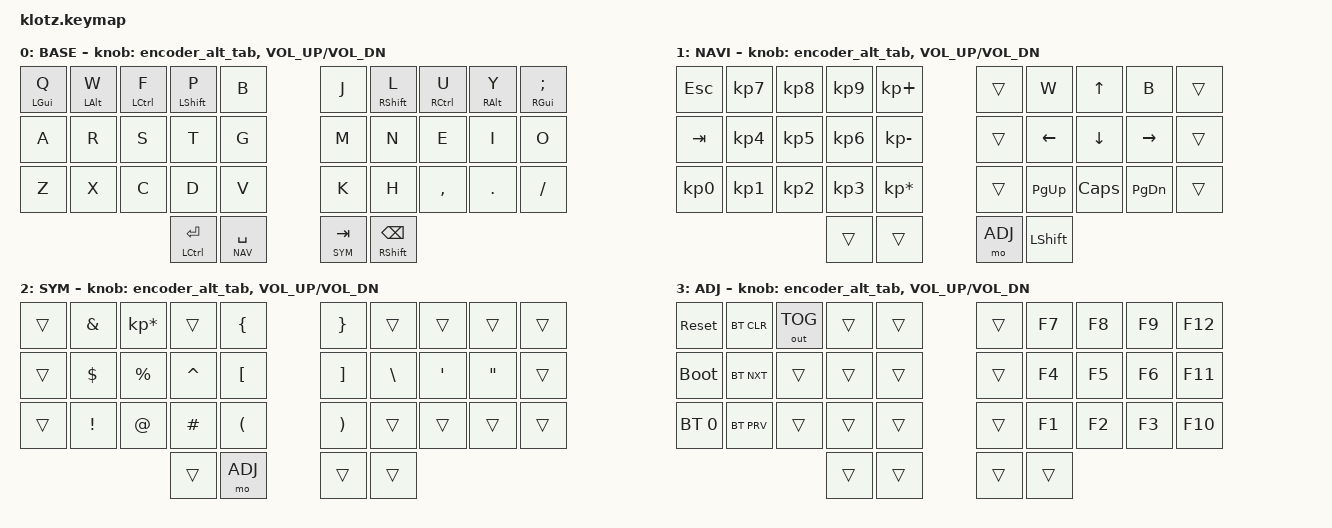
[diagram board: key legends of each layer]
#include <behaviors.dtsi>
#include <dt-bindings/zmk/keys.h>
#include <dt-bindings/zmk/bt.h>
#include <dt-bindings/zmk/outputs.h>
#include <dt-bindings/zmk/pointing.h>

#define ZMK_POINTING_DEFAULT_MOVE_VAL 1000  // default: 600
#define ZMK_POINTING_DEFAULT_SCRL_VAL 20    // default: 10

#define BASE 0
#define NAV  1
#define SYM  2
#define ADJ  3

/ {
    combos {
            compatible = "zmk,combos";
            combo_esc {
                timeout-ms = <50>;
                key-positions = <0 1>;
                bindings = <&kp ESC>;
            };
            
            compatible = "zmk,combos";
            combo_bspc {
                timeout-ms = <50>;
                key-positions = <3 4>;
                bindings = <&kp BSPC>;
            };
            
            compatible = "zmk,combos";
            combo_bspc {
                timeout-ms = <50>;
                key-positions = <1 2>;
                bindings = <&kp LGUI>;
            };
    };

    macros {
        tabcw: tabcw {
            compatible = "zmk,behavior-macro";
            #binding-cells = <0>;
            bindings
                = <&macro_tap &kp TAB>
                ;
        };
        tabccw: tabccw {
            compatible = "zmk,behavior-macro";
            #binding-cells = <0>;
            bindings
                = <&macro_press &kp LSHFT>
                , <&macro_tap &kp TAB>
                , <&macro_release &kp LSHFT>
                ;
        };
    };

    behaviors {
        encoder_alt_tab: encoder_alt_tab {
            compatible = "zmk,behavior-sensor-rotate";
            #sensor-binding-cells = <0>;
            bindings = <&tabcw>, <&tabccw>;
        };

        ct: custom_tap {
            compatible = "zmk,behavior-hold-tap";
            #binding-cells = <2>;
            flavor = "balanced";
            bindings = <&kp>, <&kp>;
            tapping-term-ms = <300>;
            quick-tap-ms = <175>;
            require-prior-idle-ms = <150>;
        };
    };


        keymap {
                compatible = "zmk,keymap";
// ▄▄▄▄▄▄▄▄▄▄▄▄▄▄▄▄▄▄▄▄▄▄▄▄▄▄▄▄▄▄▄▄▄▄▄▄▄▄▄▄▄▄▄▄▄▄▄▄▄▄▄▄▄▄▄▄▄▄▄▄▄▄▄▄▄▄▄▄▄▄▄▄▄▄▄▄▄▄▄▄▄▄▄▄▄▄▄▄▄▄▄▄▄▄▄▄▄▄▄▄▄▄▄▄▄▄▄▄▄▄▄▄▄▄▄▄▄▄▄▄▄▄▄▄▄


                base_layer {
// ┏━━━━━━━━━━━━━━━━━━━━━━━━━━━━━━━━━━━━━━━┓
display-name= "BASE"                              ;
// ┗━━━━━━━━━━━━━━━━━━━━━━━━━━━━━━━━━━━━━━━┛
// ┏━━━━━━━━━━━┳━━━━━━━━━━━┳━━━━━━━━━━━┳━━━━━━━━━━━┳━━━━━━━━━━━┓   ┏━━━━━━━━━━━┳━━━━━━━━━━━┳━━━━━━━━━━━┳━━━━━━━━━━━┳━━━━━━━━━━━┓
// ┃     Q     ┃     W     ┃     F     ┃     P     ┃     B     ┃   ┃     J     ┃     L     ┃     U     ┃     Y     ┃     ; :   ┃
// ┣━━━━━━━━━━━╋━━━━━━━━━━━╋━━━━━━━━━━━╋━━━━━━━━━━━╋━━━━━━━━━━━┫   ┣━━━━━━━━━━━╋━━━━━━━━━━━╋━━━━━━━━━━━╋━━━━━━━━━━━╋━━━━━━━━━━━┫
// ┃     A     ┃     R     ┃     S     ┃     T     ┃     G     ┃   ┃     M     ┃     N     ┃     E     ┃     I     ┃     O     ┃
// ┣━━━━━━━━━━━╋━━━━━━━━━━━╋━━━━━━━━━━━╋━━━━━━━━━━━╋━━━━━━━━━━━┫   ┣━━━━━━━━━━━╋━━━━━━━━━━━╋━━━━━━━━━━━╋━━━━━━━━━━━╋━━━━━━━━━━━┫
// ┃     Z     ┃     X     ┃     C     ┃     D     ┃     V     ┃   ┃     K     ┃     H     ┃     , <   ┃     . >   ┃     / ?   ┃
// ┗━━━━━━━━━━━┻━━━━━━━━━━━┻━━━━━━━━━━━╋━━━━━━━━━━━╋━━━━━━━━━━━┫   ┣━━━━━━━━━━━╋━━━━━━━━━━━╋━━━━━━━━━━━┻━━━━━━━━━━━┻━━━━━━━━━━━┛
//                                     ┃   ENTER   ┃    SPC    ┃   ┃    TAB    ┃   BSPC    ┃
//                                     ┗━━━━━━━━━━━┻━━━━━━━━━━━┛   ┗━━━━━━━━━━━┻━━━━━━━━━━━┛
 bindings = <
// ╷           ╷           ╷           ╷           ╷           ╷   ╷           ╷           ╷           ╷           ╷           ╷

    &ct LGUI Q  &ct LALT W  &ct LCTRL F &ct LSHFT P &kp B           &kp J       &ct RSHFT L &ct RCTRL U &ct RALT Y  &ct RGUI SEMI
    &kp A       &kp R       &kp S       &kp T       &kp G           &kp M       &kp N       &kp E       &kp I       &kp O
    &kp Z       &kp X       &kp C       &kp D       &kp V           &kp K       &kp H       &kp COMMA   &kp DOT     &kp FSLH
                                       &ct LCTRL RET &lt NAV SPACE  &lt SYM TAB &ct RSHFT BSPC    
                        >;
            sensor-bindings = <&encoder_alt_tab &inc_dec_kp C_VOL_UP C_VOL_DN>;
                };

// ▄▄▄▄▄▄▄▄▄▄▄▄▄▄▄▄▄▄▄▄▄▄▄▄▄▄▄▄▄▄▄▄▄▄▄▄▄▄▄▄▄▄▄▄▄▄▄▄▄▄▄▄▄▄▄▄▄▄▄▄▄▄▄▄▄▄▄▄▄▄▄▄▄▄▄▄▄▄▄▄▄▄▄▄▄▄▄▄▄▄▄▄▄▄▄▄▄▄▄▄▄▄▄▄▄▄▄▄▄▄▄▄▄▄▄▄▄▄▄▄▄▄▄▄▄


                nav_layer {
// ┏━━━━━━━━━━━━━━━━━━━━━━━━━━━━━━━━━━━━━━━┓
display-name= "NAVI"                              ;
// ┗━━━━━━━━━━━━━━━━━━━━━━━━━━━━━━━━━━━━━━━┛
// ┏━━━━━━━━━━━┳━━━━━━━━━━━┳━━━━━━━━━━━┳━━━━━━━━━━━┳━━━━━━━━━━━┓   ┏━━━━━━━━━━━┳━━━━━━━━━━━┳━━━━━━━━━━━┳━━━━━━━━━━━┳━━━━━━━━━━━┓
// ┃    ESC    ┃     7     ┃     8     ┃     9     ┃     + =   ┃   ┃           ┃    W      ┃     UP    ┃     B     ┃           ┃
// ┣━━━━━━━━━━━╋━━━━━━━━━━━╋━━━━━━━━━━━╋━━━━━━━━━━━╋━━━━━━━━━━━┫   ┣━━━━━━━━━━━╋━━━━━━━━━━━╋━━━━━━━━━━━╋━━━━━━━━━━━╋━━━━━━━━━━━┫
// ┃    TAB    ┃     4     ┃     5     ┃     6     ┃     - _   ┃   ┃           ┃   LEFT    ┃    DOWN   ┃   RIGHT   ┃           ┃
// ┣━━━━━━━━━━━╋━━━━━━━━━━━╋━━━━━━━━━━━╋━━━━━━━━━━━╋━━━━━━━━━━━┫   ┣━━━━━━━━━━━╋━━━━━━━━━━━╋━━━━━━━━━━━╋━━━━━━━━━━━╋━━━━━━━━━━━┫
// ┃     0     ┃     1     ┃     2     ┃     3     ┃     *     ┃   ┃           ┃  P UP     ┃   C LOCK  ┃  P DOWN   ┃           ┃
// ┗━━━━━━━━━━━┻━━━━━━━━━━━┻━━━━━━━━━━━╋━━━━━━━━━━━╋━━━━━━━━━━━┫   ┣━━━━━━━━━━━╋━━━━━━━━━━━╋━━━━━━━━━━━┻━━━━━━━━━━━┻━━━━━━━━━━━┛
//                                     ┃           ┃           ┃   ┃  ADJUST   ┃   SHFT    ┃  
//                                     ┗━━━━━━━━━━━┻━━━━━━━━━━━┛   ┗━━━━━━━━━━━┻━━━━━━━━━━━┛
 bindings = <
// ╷           ╷           ╷           ╷           ╷           ╷   ╷           ╷           ╷           ╷           ╷           ╷

    &kp ESC     &kp KP_N7   &kp KP_N8   &kp KP_N9   &kp KP_PLUS     &trans      &kp W       &kp UP      &kp B       &trans
    &kp TAB     &kp KP_N4   &kp KP_N5   &kp KP_N6   &kp KP_MINUS    &trans      &kp LEFT &kp DOWN &kp RIGHT   &trans
    &kp KP_N0   &kp KP_N1   &kp KP_N2   &kp KP_N3   &kp KP_MULTIPLY &trans      &kp PG_UP   &kp CAPS    &kp PG_DN   &trans
                                        &trans      &trans          &mo ADJ     &kp LSHFT     
                        >;
            sensor-bindings = <&encoder_alt_tab &inc_dec_kp C_VOL_UP C_VOL_DN>;
                };

// ▄▄▄▄▄▄▄▄▄▄▄▄▄▄▄▄▄▄▄▄▄▄▄▄▄▄▄▄▄▄▄▄▄▄▄▄▄▄▄▄▄▄▄▄▄▄▄▄▄▄▄▄▄▄▄▄▄▄▄▄▄▄▄▄▄▄▄▄▄▄▄▄▄▄▄▄▄▄▄▄▄▄▄▄▄▄▄▄▄▄▄▄▄▄▄▄▄▄▄▄▄▄▄▄▄▄▄▄▄▄▄▄▄▄▄▄▄▄▄▄▄▄▄▄▄


                sim_layer {
// ┏━━━━━━━━━━━━━━━━━━━━━━━━━━━━━━━━━━━━━━━┓
display-name= "SYM"                               ;
// ┗━━━━━━━━━━━━━━━━━━━━━━━━━━━━━━━━━━━━━━━┛
// ┏━━━━━━━━━━━┳━━━━━━━━━━━┳━━━━━━━━━━━┳━━━━━━━━━━━┳━━━━━━━━━━━┓   ┏━━━━━━━━━━━┳━━━━━━━━━━━┳━━━━━━━━━━━┳━━━━━━━━━━━┳━━━━━━━━━━━┓
// ┃           ┃     &     ┃     *     ┃           ┃     {     ┃   ┃     }     ┃           ┃           ┃           ┃           ┃
// ┣━━━━━━━━━━━╋━━━━━━━━━━━╋━━━━━━━━━━━╋━━━━━━━━━━━╋━━━━━━━━━━━┫   ┣━━━━━━━━━━━╋━━━━━━━━━━━╋━━━━━━━━━━━╋━━━━━━━━━━━╋━━━━━━━━━━━┫
// ┃           ┃     $     ┃     %     ┃     ^     ┃     [     ┃   ┃     ]     ┃    \ |    ┃     '     ┃    "      ┃           ┃
// ┣━━━━━━━━━━━╋━━━━━━━━━━━╋━━━━━━━━━━━╋━━━━━━━━━━━╋━━━━━━━━━━━┫   ┣━━━━━━━━━━━╋━━━━━━━━━━━╋━━━━━━━━━━━╋━━━━━━━━━━━╋━━━━━━━━━━━┫
// ┃           ┃     !     ┃     @     ┃     #     ┃     (     ┃   ┃     )     ┃           ┃           ┃           ┃           ┃
// ┗━━━━━━━━━━━┻━━━━━━━━━━━┻━━━━━━━━━━━╋━━━━━━━━━━━╋━━━━━━━━━━━┫   ┣━━━━━━━━━━━╋━━━━━━━━━━━╋━━━━━━━━━━━┻━━━━━━━━━━━┻━━━━━━━━━━━┛
//                                     ┃           ┃  ADJUST   ┃   ┃           ┃           ┃   
//                                     ┗━━━━━━━━━━━┻━━━━━━━━━━━┛   ┗━━━━━━━━━━━┻━━━━━━━━━━━┛
 bindings = <
// ╷           ╷           ╷           ╷           ╷           ╷   ╷           ╷           ╷           ╷           ╷           ╷

    &trans      &kp AMPS    &kp KP_MULTIPLY &trans    &kp LBRC      &kp RBRC    &trans      &trans      &trans      &trans        
    &trans      &kp DLLR    &kp PRCNT   &kp CARET   &kp LBKT        &kp RBKT    &kp BSLH    &kp SQT     &kp DQT     &trans
    &trans      &kp EXCL    &kp AT      &kp HASH    &kp LPAR        &kp RPAR    &trans      &trans      &trans      &trans
                                        &trans      &mo ADJ         &trans      &trans      
                        >;
            sensor-bindings = <&encoder_alt_tab &inc_dec_kp C_VOL_UP C_VOL_DN>;
                };

// ▄▄▄▄▄▄▄▄▄▄▄▄▄▄▄▄▄▄▄▄▄▄▄▄▄▄▄▄▄▄▄▄▄▄▄▄▄▄▄▄▄▄▄▄▄▄▄▄▄▄▄▄▄▄▄▄▄▄▄▄▄▄▄▄▄▄▄▄▄▄▄▄▄▄▄▄▄▄▄▄▄▄▄▄▄▄▄▄▄▄▄▄▄▄▄▄▄▄▄▄▄▄▄▄▄▄▄▄▄▄▄▄▄▄▄▄▄▄▄▄▄▄▄▄▄


                adjust_layer {
// ┏━━━━━━━━━━━━━━━━━━━━━━━━━━━━━━━━━━━━━━━┓
display-name= "ADJ"                               ;
// ┗━━━━━━━━━━━━━━━━━━━━━━━━━━━━━━━━━━━━━━━┛
// ┏━━━━━━━━━━━┳━━━━━━━━━━━┳━━━━━━━━━━━┳━━━━━━━━━━━┳━━━━━━━━━━━┓   ┏━━━━━━━━━━━┳━━━━━━━━━━━┳━━━━━━━━━━━┳━━━━━━━━━━━┳━━━━━━━━━━━┓
// ┃   RESET   ┃ BT CLEAR  ┃  OUT TOG  ┃           ┃           ┃   ┃           ┃    F7     ┃    F8     ┃    F9     ┃    F12    ┃
// ┣━━━━━━━━━━━╋━━━━━━━━━━━╋━━━━━━━━━━━╋━━━━━━━━━━━╋━━━━━━━━━━━┫   ┣━━━━━━━━━━━╋━━━━━━━━━━━╋━━━━━━━━━━━╋━━━━━━━━━━━╋━━━━━━━━━━━┫
// ┃ BOOTLOAD  ┃ BT NEXT   ┃           ┃           ┃           ┃   ┃           ┃    F4     ┃    F5     ┃    F6     ┃    F11    ┃
// ┣━━━━━━━━━━━╋━━━━━━━━━━━╋━━━━━━━━━━━╋━━━━━━━━━━━╋━━━━━━━━━━━┫   ┣━━━━━━━━━━━╋━━━━━━━━━━━╋━━━━━━━━━━━╋━━━━━━━━━━━╋━━━━━━━━━━━┫
// ┃  BT 0     ┃ BT PREV   ┃           ┃           ┃           ┃   ┃           ┃    F1     ┃    F2     ┃    F3     ┃    F10    ┃
// ┗━━━━━━━━━━━┻━━━━━━━━━━━┻━━━━━━━━━━━╋━━━━━━━━━━━╋━━━━━━━━━━━┫   ┣━━━━━━━━━━━╋━━━━━━━━━━━╋━━━━━━━━━━━┻━━━━━━━━━━━┻━━━━━━━━━━━┛
//                                     ┃           ┃           ┃   ┃           ┃           ┃
//                                     ┗━━━━━━━━━━━┻━━━━━━━━━━━┛   ┗━━━━━━━━━━━┻━━━━━━━━━━━┛
 bindings = <
// ╷           ╷           ╷           ╷           ╷           ╷   ╷           ╷           ╷           ╷           ╷           ╷

    &sys_reset  &bt BT_CLR &out OUT_TOG &trans      &trans          &trans      &kp F7      &kp F8      &kp F9      &kp F12
    &bootloader &bt BT_NXT  &trans      &trans      &trans          &trans      &kp F4      &kp F5      &kp F6      &kp F11  
   &bt BT_SEL 0 &bt BT_PRV  &trans      &trans      &trans          &trans      &kp F1      &kp F2      &kp F3      &kp F10     
                                        &trans      &trans          &trans      &trans
                        >;
            sensor-bindings = <&encoder_alt_tab &inc_dec_kp C_VOL_UP C_VOL_DN>;
                };
        };
};
